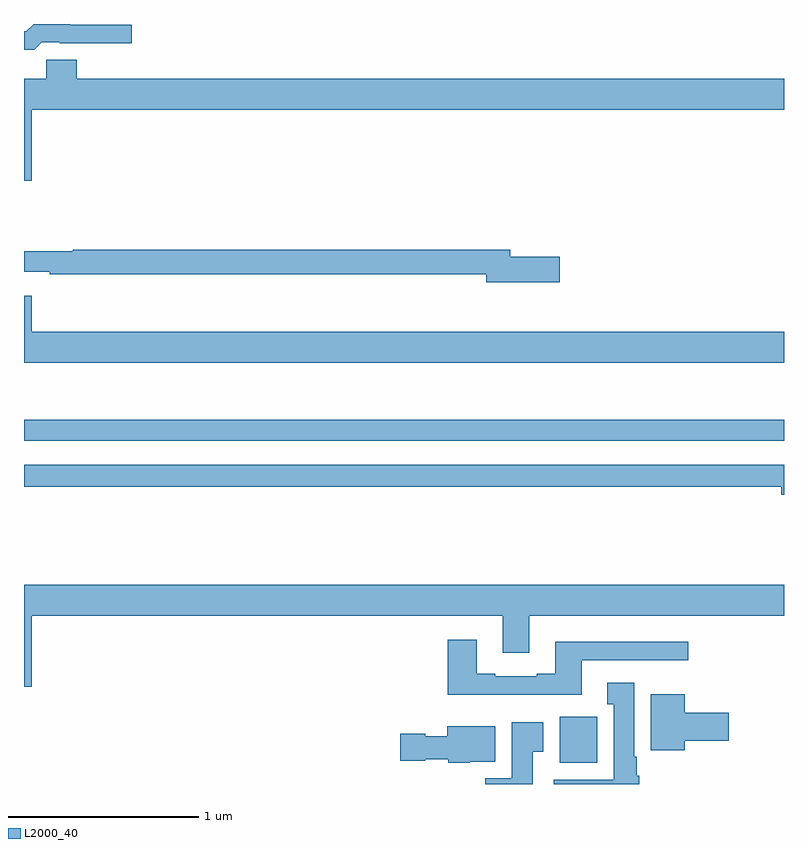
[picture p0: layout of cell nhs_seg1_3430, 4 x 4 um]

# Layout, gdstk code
import gdstk
lib = gdstk.Library(unit=1e-6, precision=1e-09)
def R(c, l, rs):  # rectangles x0, y0, x1, y1
    for r in rs: c.add(gdstk.rectangle(r[:2], r[2:], *l))
def P(c, l, *ps):  # polygons
    for p in ps: c.add(gdstk.Polygon(p, *l))
L2000_40 = (2000, 40)

nhs_seg1_3430 = lib.new_cell('nhs_seg1_3430')
R(nhs_seg1_3430, L2000_40, [(299.819,532.31,300.016,532.552), (297,534.006,301,534.115)])
P(nhs_seg1_3430, L2000_40, [(297.093,536.103),(297.187,536.103),(297.187,536.099),(297.568,536.099),(297.568,536.196),(297.244,536.196),(297.244,536.199),(297.051,536.199),(297.012,536.16),(297,536.16),(297,536.064),(297.053,536.064)],
  [(297.04,535.748),(301,535.748),(301,535.912),(297.278,535.912),(297.278,536.01),(297.118,536.01),(297.118,535.912),(297,535.912),(297,535.374),(297.04,535.374)],
  [(299.821,534.974),(299.56,534.974),(299.56,535.01),(297.256,535.01),(297.256,535.003),(297,535.003),(297,534.894),(297.136,534.894),(297.136,534.882),(299.432,534.882),(299.432,534.839),(299.821,534.839)],
  [(301,534.58),(297.04,534.58),(297.04,534.769),(297,534.769),(297,534.416),(301,534.416)],
  [(301,533.88),(297,533.88),(297,533.764),(300.986,533.764),(300.986,533.722),(301,533.722)],
  [(297.04,533.084),(299.519,533.084),(299.519,532.89),(299.659,532.89),(299.659,533.084),(301,533.084),(301,533.248),(297,533.248),(297,532.71),(297.04,532.71)],
  [(299.935,532.851),(300.496,532.851),(300.496,532.948),(299.795,532.948),(299.795,532.78),(299.699,532.78),(299.699,532.767),(299.479,532.767),(299.479,532.78),(299.383,532.78),(299.383,532.957),(299.231,532.957),(299.231,532.67),(299.935,532.67)],
  [(300.238,532.242),(300.226,532.242),(300.226,532.342),(300.211,532.342),(300.211,532.732),(300.071,532.732),(300.071,532.619),(300.104,532.619),(300.104,532.222),(299.787,532.222),(299.787,532.199),(300.238,532.199)],
  [(300.478,532.427),(300.709,532.427),(300.709,532.574),(300.478,532.574),(300.478,532.672),(300.299,532.672),(300.299,532.376),(300.478,532.376)],
  [(299.677,532.369),(299.734,532.369),(299.734,532.525),(299.567,532.525),(299.567,532.228),(299.428,532.228),(299.428,532.199),(299.677,532.199)],
  [(299.346,532.316),(299.479,532.316),(299.479,532.504),(299.228,532.504),(299.228,532.45),(299.112,532.45),(299.112,532.463),(298.98,532.463),(298.98,532.321),(299.112,532.321),(299.112,532.328),(299.232,532.328),(299.232,532.31),(299.346,532.31)])

lib.write_gds('nhs_seg1_3430.gds')
